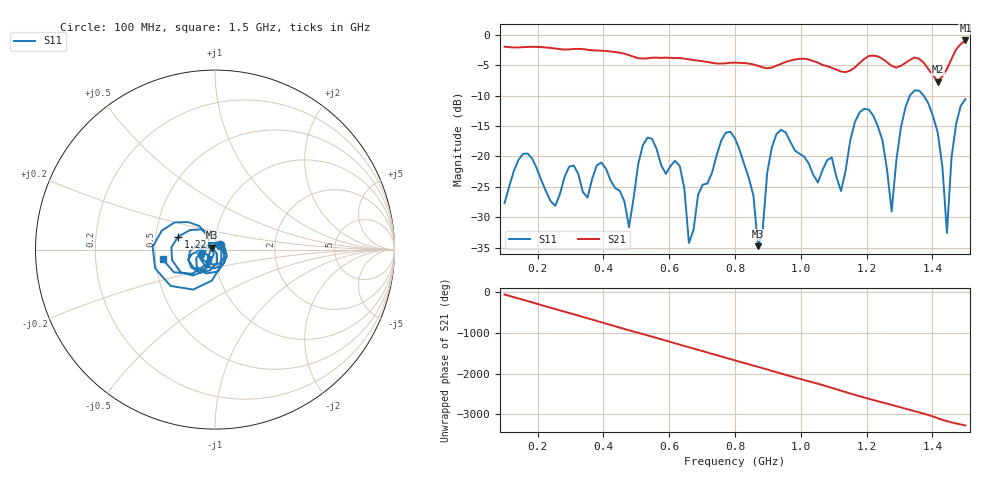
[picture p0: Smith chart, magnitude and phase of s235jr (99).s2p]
! NanoVNA-App
! Date: 2025-09-26 09:45:33
! Start: 100MHz Stop: 1,5GHz Points: 101
! S-Parameter data: F S11 S21 S12 S22
# Hz S RI R 50
!  Frequency  S11_Real  S11_Imag  S21_Real  S21_Imag  S12_Real  S12_Imag  S22_Real  S22_Imag
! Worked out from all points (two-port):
!   101 points, 100 MHz to 1.5 GHz, reference 50 ohm
!   highest |S21| = -0.92 dB at 1.5 GHz (marker M1); lowest = -7.7 dB at 1.416 GHz (marker M2)
!   |S21| within 3 dB of the highest: start of sweep to 646.7 MHz; 1.194 GHz to 1.247 GHz (52.79 MHz wide, 4.32 % of centre)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
!   lowest |S11| = -34.8 dB at 870 MHz (marker M3), VSWR 1.04, Z = 48.5 + j0.969 ohm
!   |S11| at or under -10 dB: start of sweep to 1.331 GHz; 1.373 GHz to end of sweep
!   S12 and S22 are empty: the file has one direction only
!   S11 on the Smith chart (normalised r, x): 100 MHz: 1.06, +0.06; 1.22 GHz: 0.65, +0.10; 1.5 GHz: 0.55, -0.06
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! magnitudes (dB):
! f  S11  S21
! 100 MHz  -27.6  -2.0
! 156 MHz  -19.6  -2.0
! 338 MHz  -25.9  -2.3
! 394 MHz  -21.0  -2.6
! 478 MHz  -31.6  -3.3
! 520 MHz  -18.2  -3.9
! 576 MHz  -21.5  -3.8
! 632 MHz  -21.6  -3.8
! 660 MHz  -34.2  -4.0
! 800 MHz  -17.0  -4.6
! 870 MHz  -34.8  -5.1
! 926 MHz  -16.3  -5.1
! 1.038 GHz  -23.1  -4.3
! 1.122 GHz  -25.7  -6.0
! 1.164 GHz  -14.4  -5.4
! 1.22 GHz  -13.3  -3.4
! 1.276 GHz  -29.0  -5.1
! 1.332 GHz  -9.9  -4.1
! 1.416 GHz  -16.1  -7.7
! 1.444 GHz  -32.6  -5.6
! 1.458 GHz  -20.1  -4.0
! 1.5 GHz  -10.6  -0.9
